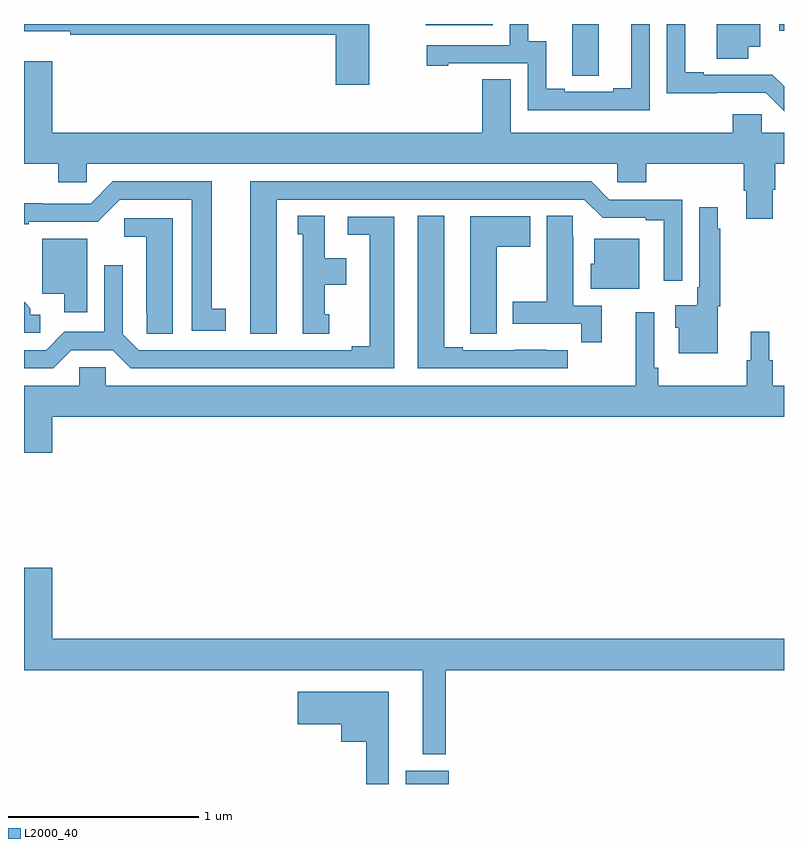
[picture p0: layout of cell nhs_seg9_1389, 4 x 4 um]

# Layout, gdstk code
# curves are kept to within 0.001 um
import gdstk
lib = gdstk.Library(unit=1e-6, precision=1e-09)
def R(c, l, rs):  # rectangles x0, y0, x1, y1
    for r in rs: c.add(gdstk.rectangle(r[:2], r[2:], *l))
def P(c, l, *ps):  # polygons
    for p in ps: c.add(gdstk.Polygon(p, *l))
L2000_40 = (2000, 40)

nhs_seg9_1389 = lib.new_cell('nhs_seg9_1389')
R(nhs_seg9_1389, L2000_40, [(191.009,1182.5,191.236,1182.571), (192.975,1186.464,193,1186.5), (191.114,1186.493,191.467,1186.5)])
P(nhs_seg9_1389, L2000_40, [(192.294,1186.5),(192.197,1186.5),(192.197,1186.163),(192.101,1186.163),(192.101,1186.143),(191.845,1186.143),(191.845,1186.158),(191.749,1186.158),(191.749,1186.409),(191.655,1186.409),(191.655,1186.5),(191.556,1186.5),(191.556,1186.389),(191.121,1186.389),(191.121,1186.281),(191.233,1186.281),(191.233,1186.293),(191.652,1186.293),(191.652,1186.047),(192.294,1186.047)],
  [(193,1186.172),(192.938,1186.234),(192.577,1186.233),(192.577,1186.246),(192.481,1186.246),(192.481,1186.5),(192.384,1186.5),(192.384,1186.136),(192.903,1186.137),(193,1186.04)],
  [(192.811,1186.379),(192.874,1186.379),(192.874,1186.5),(192.647,1186.5),(192.647,1186.318),(192.811,1186.318)],
  [(190.818,1186.5),(189,1186.5),(189,1186.463),(189.244,1186.463),(189.244,1186.444),(190.64,1186.444),(190.64,1186.179),(190.818,1186.179)],
  [(192.025,1186.5),(191.885,1186.5),(191.885,1186.336),(191.886,1186.336),(191.886,1186.228),(192.025,1186.228)],
  [(192.94,1185.627),(192.953,1185.627),(192.953,1185.764),(193,1185.764),(193,1185.928),(192.882,1185.928),(192.882,1186.026),(192.731,1186.026),(192.731,1185.928),(191.563,1185.928),(191.563,1186.208),(191.411,1186.208),(191.411,1185.928),(189.148,1185.928),(189.148,1186.303),(189,1186.303),(189,1185.764),(189.179,1185.764),(189.179,1185.666),(189.33,1185.666),(189.33,1185.764),(192.123,1185.764),(192.123,1185.666),(192.275,1185.666),(192.275,1185.764),(192.788,1185.764),(192.788,1185.622),(192.8,1185.622),(192.8,1185.474),(192.94,1185.474)],
  [(190.33,1185.576),(191.949,1185.576),(192.045,1185.48),(192.272,1185.48),(192.272,1185.468),(192.368,1185.468),(192.368,1185.15),(192.465,1185.15),(192.465,1185.576),(192.081,1185.576),(191.985,1185.672),(190.19,1185.672),(190.19,1184.871),(190.33,1184.871)],
  [(190.063,1185.002),(189.988,1185.002),(189.988,1185.672),(189.468,1185.672),(189.351,1185.555),(189.095,1185.555),(189.095,1185.557),(189,1185.557),(189,1185.447),(189.025,1185.447),(189.025,1185.459),(189.387,1185.459),(189.504,1185.576),(189.884,1185.576),(189.884,1184.886),(190.063,1184.886)],
  [(192.652,1185.015),(192.664,1185.015),(192.664,1185.422),(192.652,1185.422),(192.652,1185.535),(192.555,1185.535),(192.555,1185.115),(192.543,1185.115),(192.543,1185.019),(192.428,1185.019),(192.428,1184.901),(192.446,1184.901),(192.446,1184.768),(192.652,1184.768)],
  [(192.041,1185.018),(191.89,1185.018),(191.89,1185.38),(191.889,1185.38),(191.889,1185.491),(191.75,1185.491),(191.75,1185.039),(191.573,1185.039),(191.573,1184.922),(191.932,1184.922),(191.932,1184.826),(192.041,1184.826)],
  [(191.863,1184.784),(191.75,1184.784),(191.75,1184.785),(191.584,1184.785),(191.584,1184.784),(191.308,1184.784),(191.308,1184.799),(191.212,1184.799),(191.212,1185.491),(191.072,1185.491),(191.072,1184.688),(191.863,1184.688)],
  [(190.606,1184.973),(190.582,1184.973),(190.582,1185.128),(190.696,1185.128),(190.696,1185.268),(190.582,1185.268),(190.582,1185.491),(190.442,1185.491),(190.442,1185.393),(190.466,1185.393),(190.466,1184.871),(190.606,1184.871)],
  [(191.488,1185.328),(191.665,1185.328),(191.665,1185.487),(191.348,1185.487),(191.348,1184.977),(191.349,1184.977),(191.349,1184.869),(191.488,1184.869)],
  [(189.249,1184.784),(189.467,1184.784),(189.563,1184.688),(190.948,1184.688),(190.948,1185.486),(190.704,1185.486),(190.704,1185.39),(190.82,1185.39),(190.82,1184.804),(190.724,1184.804),(190.724,1184.784),(189.603,1184.784),(189.519,1184.868),(189.519,1185.229),(189.423,1185.229),(189.423,1184.88),(189.213,1184.88),(189.117,1184.784),(189,1184.784),(189,1184.688),(189.153,1184.688)],
  [(189.784,1185.477),(189.528,1185.477),(189.528,1185.38),(189.644,1185.38),(189.644,1184.977),(189.645,1184.977),(189.645,1184.869),(189.784,1184.869)],
  [(192.238,1185.37),(192.002,1185.37),(192.002,1185.237),(191.984,1185.237),(191.984,1185.107),(192.238,1185.107)],
  [(189.334,1185.37),(189.095,1185.37),(189.095,1185.08),(189.212,1185.08),(189.212,1184.982),(189.334,1184.982)],
  [(189.085,1184.97),(189.034,1184.97),(189.034,1185.005),(189,1185.039),(189,1184.874),(189.085,1184.874)],
  [(189.148,1184.432),(193,1184.432),(193,1184.596),(192.941,1184.596),(192.941,1184.73),(192.922,1184.73),(192.922,1184.881),(192.824,1184.881),(192.824,1184.73),(192.805,1184.73),(192.805,1184.596),(192.338,1184.596),(192.338,1184.692),(192.318,1184.692),(192.318,1184.983),(192.221,1184.983),(192.221,1184.596),(189.429,1184.596),(189.429,1184.694),(189.291,1184.694),(189.291,1184.596),(189,1184.596),(189,1184.244),(189.148,1184.244)],
  [(191.221,1183.1),(193,1183.1),(193,1183.264),(189.148,1183.264),(189.148,1183.639),(189,1183.639),(189,1183.1),(191.099,1183.1),(191.099,1182.656),(191.221,1182.656)],
  [(190.921,1182.985),(190.44,1182.985),(190.44,1182.815),(190.67,1182.815),(190.67,1182.722),(190.8,1182.722),(190.8,1182.5),(190.921,1182.5)])

lib.write_gds('nhs_seg9_1389.gds')
